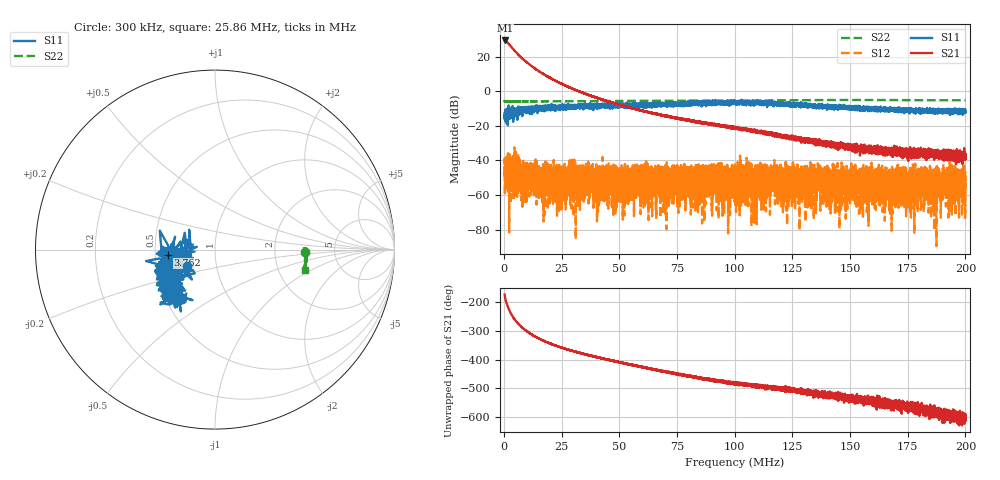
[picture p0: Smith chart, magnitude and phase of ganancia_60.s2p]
# Hz S DB R 50
! CMT, M5065, 19127446, 24.2.4/2
! Date: 11/8/2024 5:35:53 PM
! Data: Format (Calibration Info)
! Freq	S11:dB/Ang(F2)	S21:dB/Ang(F2)	S12:dB/Ang(F2)	S22:dB/Ang(F2)
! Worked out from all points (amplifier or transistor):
!   9000 points, 300 kHz to 200 MHz, reference 50 ohm
!   highest |S21| = 29.3 dB at 388.8 kHz (marker M1)
!   |S21| within 3 dB of that: start of sweep to 2.766 MHz
!   unconditionally stable (mu >= 1): start of sweep to 1.762 MHz; 1.768 MHz to end of sweep
!   at 33.59 MHz: K = 224.44, MAG = 1.3 dB, |S12| = -56.3 dB
!   at 100.2 MHz: K = 880.06, MAG = -18.3 dB, |S12| = -49.4 dB
!   at 200 MHz: K = 15254.53, MAG = -37.0 dB, |S12| = -54.5 dB
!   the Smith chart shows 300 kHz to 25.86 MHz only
!   S11 on the Smith chart (normalised r, x): 300 kHz: 0.72, -0.13; 3.762 MHz: 0.58, -0.04; 25.86 MHz: 0.59, -0.33
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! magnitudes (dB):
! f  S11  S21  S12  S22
! 300 kHz  -15.0  29.3  -41.4  -6.0
! 388.8 kHz  -16.2  29.3  -50.1  -6.1
! 3.762 MHz  -11.6  24.7  -44.6  -5.9
! 8.222 MHz  -9.3  18.6  -45.8  -5.9
! 12.97 MHz  -9.2  13.6  -58.0  -5.9
! 16.88 MHz  -10.0  10.1  -45.4  -5.8
! 25.86 MHz  -9.7  3.7  -44.5  -5.8
! 33.59 MHz  -8.7  -0.6  -56.3  -5.8
! 66.87 MHz  -7.2  -13.2  -54.5  -5.5
! 100.2 MHz  -5.8  -21.1  -49.4  -5.4
! 117.4 MHz  -7.3  -25.0  -64.2  -5.3
! 121.8 MHz  -8.2  -26.1  -46.6  -5.3
! 123.8 MHz  -7.5  -26.8  -47.4  -5.2
! 133.4 MHz  -8.2  -28.6  -53.0  -5.2
! 137.2 MHz  -9.5  -29.7  -51.0  -5.1
! 143.8 MHz  -8.8  -30.2  -64.6  -5.1
! 151.1 MHz  -9.7  -33.4  -50.7  -5.1
! 166.7 MHz  -10.8  -36.3  -46.5  -5.1
! 185.9 MHz  -10.8  -37.5  -45.5  -5.2
! 193.9 MHz  -10.5  -35.9  -48.2  -5.2
! 196 MHz  -11.4  -36.7  -46.0  -5.2
! 200 MHz  -12.3  -38.8  -54.5  -5.2
